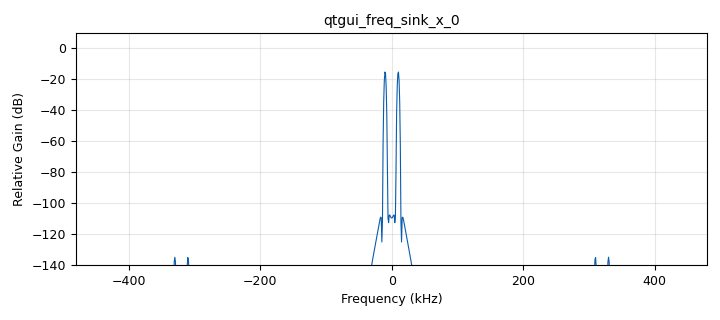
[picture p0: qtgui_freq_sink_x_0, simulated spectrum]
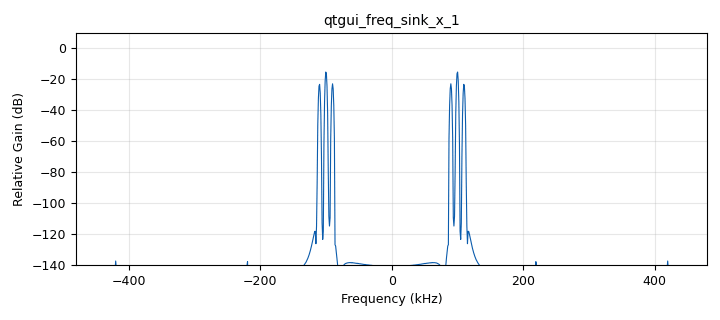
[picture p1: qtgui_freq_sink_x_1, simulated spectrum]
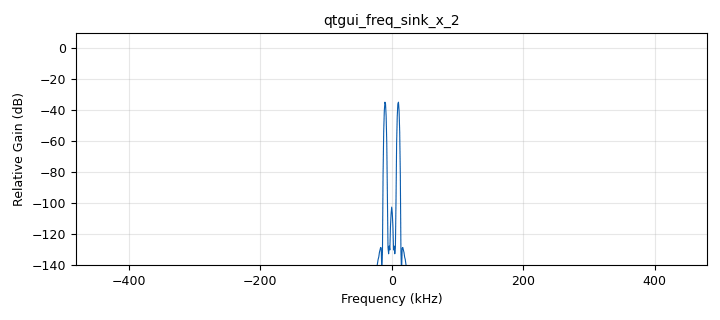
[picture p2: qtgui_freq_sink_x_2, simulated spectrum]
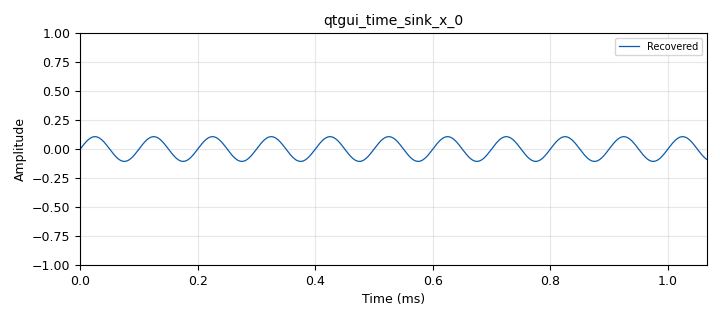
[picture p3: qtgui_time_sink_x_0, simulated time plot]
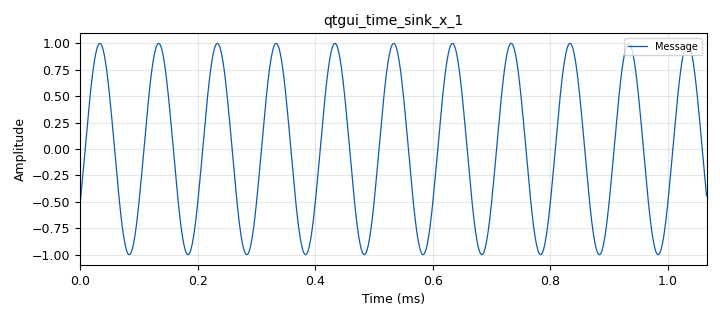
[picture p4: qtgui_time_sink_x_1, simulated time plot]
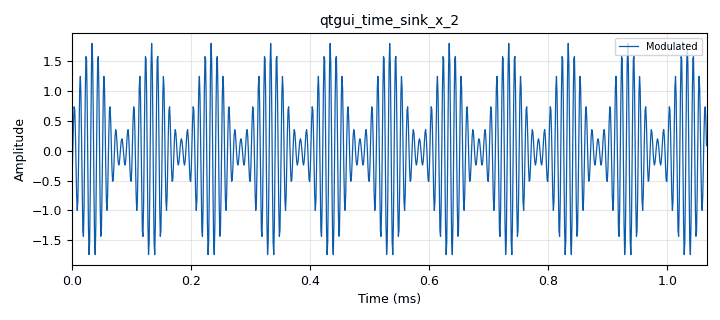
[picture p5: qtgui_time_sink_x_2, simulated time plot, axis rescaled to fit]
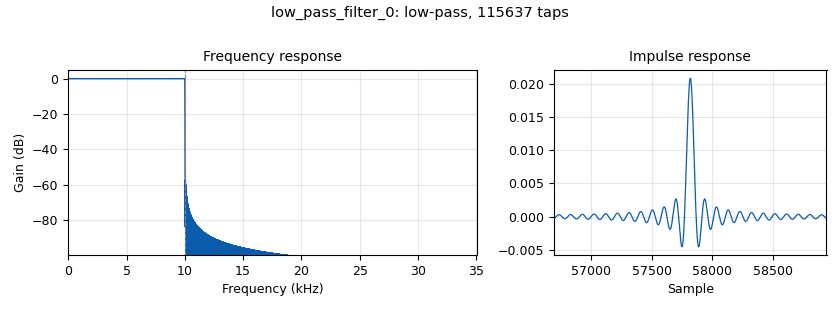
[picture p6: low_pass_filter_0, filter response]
options:
  parameters:
    generate_options: qt_gui
    id: part_1
    output_language: python
    title: Part 1
  states: {}

blocks:
- name: samp_rate
  id: variable
  parameters:
    value: '960000'
  states: {}
- name: analog_const_source_x_0
  id: analog_const_source_x
  parameters:
    const: '0.8'
    type: float
  states: {}
- name: analog_const_source_x_0_0
  id: analog_const_source_x
  parameters:
    const: '1'
    type: float
  states: {}
- name: analog_sig_source_x_0
  id: analog_sig_source_x
  parameters:
    amp: '1'
    freq: '10000'
    offset: '0'
    phase: '0'
    samp_rate: samp_rate
    type: float
    waveform: analog.GR_COS_WAVE
  states: {}
- name: analog_sig_source_x_1
  id: analog_sig_source_x
  parameters:
    amp: '1'
    freq: '100000'
    offset: '0'
    phase: '0'
    samp_rate: samp_rate
    type: float
    waveform: analog.GR_COS_WAVE
  states: {}
- name: blocks_add_xx_2
  id: blocks_add_xx
  parameters:
    type: float
  states: {}
- name: blocks_multiply_xx_0
  id: blocks_multiply_xx
  parameters:
    type: float
  states: {}
- name: blocks_multiply_xx_1
  id: blocks_multiply_xx
  parameters:
    type: float
  states: {}
- name: blocks_multiply_xx_2
  id: blocks_multiply_xx
  parameters:
    type: float
  states: {}
- name: blocks_throttle_0
  id: blocks_throttle
  parameters:
    samples_per_second: samp_rate
    type: float
  states: {}
- name: dc_blocker_xx_0
  id: dc_blocker_xx
  parameters:
    length: '32'
    long_form: 'True'
    type: ff
  states: {}
- name: low_pass_filter_0
  id: low_pass_filter
  parameters:
    cutoff_freq: '10000'
    decim: '1'
    gain: '1'
    samp_rate: samp_rate
    type: fir_filter_fff
    width: '20'
    win: firdes.WIN_HAMMING
  states: {}
- name: qtgui_freq_sink_x_0
  id: qtgui_freq_sink_x
  parameters:
    bw: samp_rate
    fc: '0'
    fftsize: '1024'
    type: float
    wintype: firdes.WIN_BLACKMAN_hARRIS
  states: {}
- name: qtgui_freq_sink_x_1
  id: qtgui_freq_sink_x
  parameters:
    bw: samp_rate
    fc: '0'
    fftsize: '1024'
    type: float
    wintype: firdes.WIN_BLACKMAN_hARRIS
  states: {}
- name: qtgui_freq_sink_x_2
  id: qtgui_freq_sink_x
  parameters:
    bw: samp_rate
    fc: '0'
    fftsize: '1024'
    type: float
    wintype: firdes.WIN_BLACKMAN_hARRIS
  states: {}
- name: qtgui_time_sink_x_0
  id: qtgui_time_sink_x
  parameters:
    label1: Recovered
    size: '1024'
    srate: samp_rate
    type: float
  states: {}
- name: qtgui_time_sink_x_1
  id: qtgui_time_sink_x
  parameters:
    autoscale: 'True'
    label1: Message
    size: '1024'
    srate: samp_rate
    type: float
  states: {}
- name: qtgui_time_sink_x_2
  id: qtgui_time_sink_x
  parameters:
    label1: Modulated
    size: '1024'
    srate: samp_rate
    type: float
  states: {}

connections:
- [analog_const_source_x_0, '0', blocks_multiply_xx_2, '0']
- [analog_const_source_x_0_0, '0', blocks_add_xx_2, '1']
- [analog_sig_source_x_0, '0', blocks_multiply_xx_2, '1']
- [analog_sig_source_x_0, '0', qtgui_freq_sink_x_0, '0']
- [analog_sig_source_x_0, '0', qtgui_time_sink_x_1, '0']
- [analog_sig_source_x_1, '0', blocks_throttle_0, '0']
- [blocks_add_xx_2, '0', blocks_multiply_xx_0, '0']
- [blocks_multiply_xx_0, '0', blocks_multiply_xx_1, '0']
- [blocks_multiply_xx_0, '0', qtgui_freq_sink_x_1, '0']
- [blocks_multiply_xx_0, '0', qtgui_time_sink_x_2, '0']
- [blocks_multiply_xx_1, '0', low_pass_filter_0, '0']
- [blocks_multiply_xx_2, '0', blocks_add_xx_2, '0']
- [blocks_throttle_0, '0', blocks_multiply_xx_0, '1']
- [blocks_throttle_0, '0', blocks_multiply_xx_1, '1']
- [dc_blocker_xx_0, '0', qtgui_freq_sink_x_2, '0']
- [dc_blocker_xx_0, '0', qtgui_time_sink_x_0, '0']
- [low_pass_filter_0, '0', dc_blocker_xx_0, '0']

metadata:
  file_format: 1
